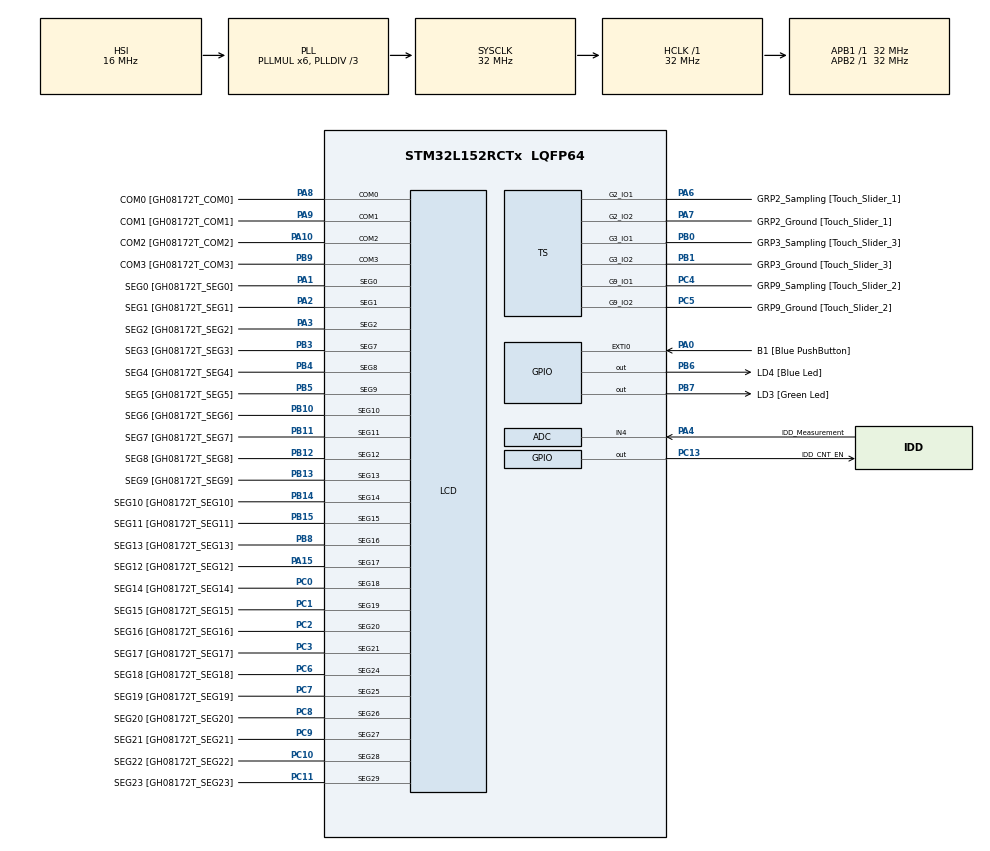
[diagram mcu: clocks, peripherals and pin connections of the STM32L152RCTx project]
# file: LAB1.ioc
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ADC.Channel=ADC_CHANNEL_4
ADC.Channel-0\#ChannelRegularConversion=ADC_CHANNEL_4
ADC.Channel-IN4=ADC_CHANNEL_4
ADC.ExternalTrigConv=ADC_EXTERNALTRIGCONV_T2_CC3
ADC.ExternalTrigConv-0\#ChannelRegularConversion=ADC_SOFTWARE_START
ADC.ExternalTrigConvEdge=ADC_EXTERNALTRIGCONVEDGE_RISING
ADC.Rank-0\#ChannelRegularConversion=1
ADC.SamplingTime-0\#ChannelRegularConversion=ADC_SAMPLETIME_4CYCLES
Mcu.Family=STM32L1
Mcu.Name=STM32L152RCTx
Mcu.Package=LQFP64
NVIC.PriorityGroup=NVIC_PRIORITYGROUP_0
PA0-WKUP1.GPIO_Label=B1 [Blue PushButton]
PA0-WKUP1.GPIO_ModeDefaultEXTI=GPIO_MODE_EVT_RISING
PA0-WKUP1.GPIO_PuPd=GPIO_NOPULL
PA0-WKUP1.Signal=GPXTI0
PA1.GPIO_Label=SEG0 [GH08172T_SEG0]
PA1.GPIO_Mode=GPIO_MODE_AF_PP
PA1.GPIO_PuPd=GPIO_NOPULL
PA1.GPIO_Speed=GPIO_SPEED_FREQ_LOW
PA1.Mode=SEG0
PA1.Signal=LCD_SEG0
PA10.GPIO_Label=COM2 [GH08172T_COM2]
PA10.GPIO_Mode=GPIO_MODE_AF_PP
PA10.GPIO_PuPd=GPIO_NOPULL
PA10.GPIO_Speed=GPIO_SPEED_FREQ_LOW
PA10.Mode=1/4 Duty Cycle
PA10.Signal=LCD_COM2
PA13.GPIO_Label=SWDIO
PA13.Mode=Serial_Wire
PA13.Signal=SYS_JTMS-SWDIO
PA14.GPIO_Label=SWCLK
PA14.Mode=Serial_Wire
PA14.Signal=SYS_JTCK-SWCLK
PA15.GPIO_Label=SEG12 [GH08172T_SEG12]
PA15.GPIO_Mode=GPIO_MODE_AF_PP
PA15.GPIO_PuPd=GPIO_NOPULL
PA15.GPIO_Speed=GPIO_SPEED_FREQ_LOW
PA15.Mode=SEG17
PA15.Signal=LCD_SEG17
PA2.GPIO_Label=SEG1 [GH08172T_SEG1]
PA2.GPIO_Mode=GPIO_MODE_AF_PP
PA2.GPIO_PuPd=GPIO_NOPULL
PA2.GPIO_Speed=GPIO_SPEED_FREQ_LOW
PA2.Mode=SEG1
PA2.Signal=LCD_SEG1
PA3.GPIO_Label=SEG2 [GH08172T_SEG2]
PA3.GPIO_Mode=GPIO_MODE_AF_PP
PA3.GPIO_PuPd=GPIO_NOPULL
PA3.GPIO_Speed=GPIO_SPEED_FREQ_LOW
PA3.Mode=SEG2
PA3.Signal=LCD_SEG2
PA4.GPIO_Label=IDD_Measurement
PA4.GPIO_Mode=GPIO_MODE_ANALOG
PA4.GPIO_PuPd=GPIO_NOPULL
PA4.Mode=IN4
PA4.Signal=ADC_IN4
PA6.GPIO_Label=GRP2_Sampling [Touch_Slider_1]
PA6.Mode=G2_IO1-Sampling
PA6.Signal=TS_G2_IO1
PA7.GPIO_Label=GRP2_Ground [Touch_Slider_1]
PA7.Mode=G2_IO2-Channel
PA7.Signal=TS_G2_IO2
PA8.GPIO_Label=COM0 [GH08172T_COM0]
PA8.GPIO_Mode=GPIO_MODE_AF_PP
PA8.GPIO_PuPd=GPIO_NOPULL
PA8.GPIO_Speed=GPIO_SPEED_FREQ_LOW
PA8.Mode=1/4 Duty Cycle
PA8.Signal=LCD_COM0
PA9.GPIO_Label=COM1 [GH08172T_COM1]
PA9.GPIO_Mode=GPIO_MODE_AF_PP
PA9.GPIO_PuPd=GPIO_NOPULL
PA9.GPIO_Speed=GPIO_SPEED_FREQ_LOW
PA9.Mode=1/4 Duty Cycle
PA9.Signal=LCD_COM1
PB0.GPIO_Label=GRP3_Sampling [Touch_Slider_3]
PB0.Mode=G3_IO1-Sampling
PB0.Signal=TS_G3_IO1
PB1.GPIO_Label=GRP3_Ground [Touch_Slider_3]
PB1.Mode=G3_IO2-Channel
PB1.Signal=TS_G3_IO2
PB10.GPIO_Label=SEG6 [GH08172T_SEG6]
PB10.GPIO_Mode=GPIO_MODE_AF_PP
PB10.GPIO_PuPd=GPIO_NOPULL
PB10.GPIO_Speed=GPIO_SPEED_FREQ_LOW
PB10.Mode=SEG10
PB10.Signal=LCD_SEG10
PB11.GPIO_Label=SEG7 [GH08172T_SEG7]
PB11.GPIO_Mode=GPIO_MODE_AF_PP
PB11.GPIO_PuPd=GPIO_NOPULL
PB11.GPIO_Speed=GPIO_SPEED_FREQ_LOW
PB11.Mode=SEG11
PB11.Signal=LCD_SEG11
PB12.GPIO_Label=SEG8 [GH08172T_SEG8]
PB12.GPIO_Mode=GPIO_MODE_AF_PP
PB12.GPIO_PuPd=GPIO_NOPULL
PB12.GPIO_Speed=GPIO_SPEED_FREQ_LOW
PB12.Mode=SEG12
PB12.Signal=LCD_SEG12
PB13.GPIO_Label=SEG9 [GH08172T_SEG9]
PB13.GPIO_Mode=GPIO_MODE_AF_PP
PB13.GPIO_PuPd=GPIO_NOPULL
PB13.GPIO_Speed=GPIO_SPEED_FREQ_LOW
PB13.Mode=SEG13
PB13.Signal=LCD_SEG13
PB14.GPIO_Label=SEG10 [GH08172T_SEG10]
PB14.GPIO_Mode=GPIO_MODE_AF_PP
PB14.GPIO_PuPd=GPIO_NOPULL
PB14.GPIO_Speed=GPIO_SPEED_FREQ_LOW
PB14.Mode=SEG14
PB14.Signal=LCD_SEG14
PB15.GPIO_Label=SEG11 [GH08172T_SEG11]
PB15.GPIO_Mode=GPIO_MODE_AF_PP
PB15.GPIO_PuPd=GPIO_NOPULL
PB15.GPIO_Speed=GPIO_SPEED_FREQ_LOW
PB15.Mode=SEG15
PB15.Signal=LCD_SEG15
PB3.GPIO_Label=SEG3 [GH08172T_SEG3]
PB3.GPIO_Mode=GPIO_MODE_AF_PP
PB3.GPIO_PuPd=GPIO_NOPULL
PB3.GPIO_Speed=GPIO_SPEED_FREQ_LOW
PB3.Mode=SEG7
PB3.Signal=LCD_SEG7
PB4.GPIO_Label=SEG4 [GH08172T_SEG4]
PB4.GPIO_Mode=GPIO_MODE_AF_PP
PB4.GPIO_PuPd=GPIO_NOPULL
PB4.GPIO_Speed=GPIO_SPEED_FREQ_LOW
PB4.Mode=SEG8
PB4.Signal=LCD_SEG8
PB5.GPIO_Label=SEG5 [GH08172T_SEG5]
PB5.GPIO_Mode=GPIO_MODE_AF_PP
PB5.GPIO_PuPd=GPIO_NOPULL
PB5.GPIO_Speed=GPIO_SPEED_FREQ_LOW
PB5.Mode=SEG9
PB5.Signal=LCD_SEG9
PB6.GPIO_Label=LD4 [Blue Led]
PB6.GPIO_ModeDefaultOutputPP=GPIO_MODE_OUTPUT_PP
PB6.GPIO_PuPd=GPIO_NOPULL
PB6.GPIO_Speed=GPIO_SPEED_FREQ_LOW
PB6.Signal=GPIO_Output
PB7.GPIO_Label=LD3 [Green Led]
PB7.GPIO_ModeDefaultOutputPP=GPIO_MODE_OUTPUT_PP
PB7.GPIO_PuPd=GPIO_NOPULL
PB7.GPIO_Speed=GPIO_SPEED_FREQ_LOW
PB7.Signal=GPIO_Output
PB8.GPIO_Label=SEG13 [GH08172T_SEG13]
PB8.GPIO_Mode=GPIO_MODE_AF_PP
PB8.GPIO_PuPd=GPIO_NOPULL
PB8.GPIO_Speed=GPIO_SPEED_FREQ_LOW
PB8.Mode=SEG16
PB8.Signal=LCD_SEG16
PB9.GPIO_Label=COM3 [GH08172T_COM3]
PB9.GPIO_Mode=GPIO_MODE_AF_PP
PB9.GPIO_PuPd=GPIO_NOPULL
PB9.GPIO_Speed=GPIO_SPEED_FREQ_LOW
PB9.Mode=1/4 Duty Cycle
PB9.Signal=LCD_COM3
PC0.GPIO_Label=SEG14 [GH08172T_SEG14]
PC0.GPIO_Mode=GPIO_MODE_AF_PP
PC0.GPIO_PuPd=GPIO_NOPULL
PC0.GPIO_Speed=GPIO_SPEED_FREQ_LOW
PC0.Mode=SEG18
PC0.Signal=LCD_SEG18
PC1.GPIO_Label=SEG15 [GH08172T_SEG15]
PC1.GPIO_Mode=GPIO_MODE_AF_PP
PC1.GPIO_PuPd=GPIO_NOPULL
PC1.GPIO_Speed=GPIO_SPEED_FREQ_LOW
PC1.Mode=SEG19
PC1.Signal=LCD_SEG19
PC10.GPIO_Label=SEG22 [GH08172T_SEG22]
PC10.GPIO_Mode=GPIO_MODE_AF_PP
PC10.GPIO_PuPd=GPIO_NOPULL
PC10.GPIO_Speed=GPIO_SPEED_FREQ_LOW
PC10.Mode=SEG28
PC10.Signal=LCD_SEG28
PC11.GPIO_Label=SEG23 [GH08172T_SEG23]
PC11.GPIO_Mode=GPIO_MODE_AF_PP
PC11.GPIO_PuPd=GPIO_NOPULL
PC11.GPIO_Speed=GPIO_SPEED_FREQ_LOW
PC11.Mode=SEG29
PC11.Signal=LCD_SEG29
PC13-WKUP2.GPIO_Label=IDD_CNT_EN
PC13-WKUP2.Signal=GPIO_Output
PC14-OSC32_IN.GPIO_Label=PC14-OSC32_IN
PC14-OSC32_IN.Mode=LSE-External-Oscillator
PC14-OSC32_IN.Signal=RCC_OSC32_IN
PC15-OSC32_OUT.GPIO_Label=PC15-OSC32_OUT
PC15-OSC32_OUT.Mode=LSE-External-Oscillator
PC15-OSC32_OUT.Signal=RCC_OSC32_OUT
PC2.GPIO_Label=SEG16 [GH08172T_SEG16]
PC2.GPIO_Mode=GPIO_MODE_AF_PP
PC2.GPIO_PuPd=GPIO_NOPULL
PC2.GPIO_Speed=GPIO_SPEED_FREQ_LOW
PC2.Mode=SEG20
PC2.Signal=LCD_SEG20
PC3.GPIO_Label=SEG17 [GH08172T_SEG17]
PC3.GPIO_Mode=GPIO_MODE_AF_PP
PC3.GPIO_PuPd=GPIO_NOPULL
PC3.GPIO_Speed=GPIO_SPEED_FREQ_LOW
PC3.Mode=SEG21
PC3.Signal=LCD_SEG21
PC4.GPIO_Label=GRP9_Sampling [Touch_Slider_2]
PC4.Mode=G9_IO1-Sampling
PC4.Signal=TS_G9_IO1
PC5.GPIO_Label=GRP9_Ground [Touch_Slider_2]
PC5.Mode=G9_IO2-Channel
PC5.Signal=TS_G9_IO2
PC6.GPIO_Label=SEG18 [GH08172T_SEG18]
PC6.GPIO_Mode=GPIO_MODE_AF_PP
PC6.GPIO_PuPd=GPIO_NOPULL
PC6.GPIO_Speed=GPIO_SPEED_FREQ_LOW
PC6.Mode=SEG24
PC6.Signal=LCD_SEG24
PC7.GPIO_Label=SEG19 [GH08172T_SEG19]
PC7.GPIO_Mode=GPIO_MODE_AF_PP
PC7.GPIO_PuPd=GPIO_NOPULL
PC7.GPIO_Speed=GPIO_SPEED_FREQ_LOW
PC7.Mode=SEG25
PC7.Signal=LCD_SEG25
PC8.GPIO_Label=SEG20 [GH08172T_SEG20]
PC8.GPIO_Mode=GPIO_MODE_AF_PP
PC8.GPIO_PuPd=GPIO_NOPULL
PC8.GPIO_Speed=GPIO_SPEED_FREQ_LOW
PC8.Mode=SEG26
PC8.Signal=LCD_SEG26
PC9.GPIO_Label=SEG21 [GH08172T_SEG21]
PC9.GPIO_Mode=GPIO_MODE_AF_PP
PC9.GPIO_PuPd=GPIO_NOPULL
PC9.GPIO_Speed=GPIO_SPEED_FREQ_LOW
PC9.Mode=SEG27
PC9.Signal=LCD_SEG27
ProjectManager.HeapSize=0x200
ProjectManager.StackSize=0x400
ProjectManager.TargetToolchain=STM32CubeIDE
RCC.48MHZClocksFreq_Value=48000000
RCC.AHBFreq_Value=32000000
RCC.APB1Freq_Value=32000000
RCC.APB1TimFreq_Value=32000000
RCC.APB2Freq_Value=32000000
RCC.APB2TimFreq_Value=32000000
RCC.HCLKFreq_Value=32000000
RCC.HSE_VALUE=8000000
RCC.HSI_VALUE=16000000
RCC.MSI_VALUE=2097000
RCC.PLLDIV=RCC_PLL_DIV3
RCC.PLLMUL=RCC_PLL_MUL6
RCC.RTCClockSelectionVirtual=RCC_RTCCLKSOURCE_LSE
RCC.SYSCLKFreq_VALUE=32000000
RCC.SYSCLKSource=RCC_SYSCLKSOURCE_PLLCLK
RCC.USBOutput=48000000
RCC.VCOOutputFreq_Value=96000000
board=STM32L152C-DISCO

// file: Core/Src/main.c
/* BASIC GPIO FUNCTIONALITY */
/* USER CODE BEGIN Header */
/**
  ******************************************************************************
  * @file           : main.c
  * @brief          : Main program body
  ******************************************************************************
  * @attention
  *
  * Copyright (c) 2023 STMicroelectronics.
  * All rights reserved.
  *
  * This software is licensed under terms that can be found in the LICENSE file
  * in the root directory of this software component.
  * If no LICENSE file comes with this software, it is provided AS-IS.
  *
  ******************************************************************************
  */
/* USER CODE END Header */
#include "main.h"

/* USER CODE BEGIN Includes */
#include "stm32l152c_discovery.h"
/* USER CODE END Includes */

ADC_HandleTypeDef hadc;

LCD_HandleTypeDef hlcd;

void SystemClock_Config(void);
static void MX_GPIO_Init(void);
static void MX_ADC_Init(void);
static void MX_LCD_Init(void);
static void MX_TS_Init(void);

int main(void)
{

  /* MCU Configuration--------------------------------------------------------*/

  /* Reset of all peripherals, Initializes the Flash interface and the Systick. */
  HAL_Init();

  /* Configure the system clock */
  SystemClock_Config();

  /* Initialize all configured peripherals */
  MX_GPIO_Init();
  MX_ADC_Init();
  MX_LCD_Init();
  MX_TS_Init();
  /* USER CODE BEGIN 2 */
  // PB6 (Blue LED) as digital output(01)
  GPIOB->MODER &= ~(1 << (6*2 +1)); // 0 in the desired bit = AND in MODER with the inverse of
  // “1” in position 13, and the rest to “0” as to keep them
  // untouched. (1 << (6*2 +1) -> “1” shifted 13
  // times from the right)
  GPIOB->MODER |= (1 << (6*2)); // 1 in the desired bit = OR in MODER with “1” in position
  // 12 and the rest to “0” to keep then unchanged.
  // (1 << (6*2)) -> “1” shifted 12 times from the right)
  // PB7 (Green LED) as digital output (01)
  GPIOB->MODER &= ~(1 << (7*2 +1));
  GPIOB->MODER |= (1 << (7*2));
  // Outputs with push-pull (0) and slow speed (00 = 400kHz). NO NEED IN THIS COURSE!
  GPIOB->OTYPER &= ~(1 << 6);
  GPIOB->OTYPER &= ~(1 << 7);
  GPIOB->OSPEEDR &= ~(1 << (6*2 +1));
  GPIOB->OSPEEDR &= ~(1 << (6*2));
  GPIOB->OSPEEDR &= ~(1 << (7*2 +1));
  GPIOB->OSPEEDR &= ~(1 << (7*2));
  /* USER CODE END 2 */

  /* Infinite loop */
  /* USER CODE BEGIN WHILE */
  while (1)
  {

    // Green LED ON – Blue LED OFF
    GPIOB->BSRR = (1<<7);
    GPIOB->BSRR = (1<<6)<<16;
    espera(5000000);
    // Green LED ON – Blue LED ON
    GPIOB->BSRR = (1<<7);
    GPIOB->BSRR = (1<<6);
    espera(5000000);
    // Green LED OFF – Blue LED ON
    GPIOB->BSRR = (1<<7)<<16;
    GPIOB->BSRR = (1<<6);
    espera(5000000);
    // Green LED OFF – Blue LED OFF
    GPIOB->BSRR = (1<<7)<<16;
    GPIOB->BSRR = (1<<6)<<16;
    espera(5000000);
    /* USER CODE END WH
    /* USER CODE END WHILE */

  }
}

void SystemClock_Config(void)
{
  RCC_OscInitTypeDef RCC_OscInitStruct = {0};
  RCC_ClkInitTypeDef RCC_ClkInitStruct = {0};
  RCC_PeriphCLKInitTypeDef PeriphClkInit = {0};

  /** Configure the main internal regulator output voltage
  */
  __HAL_PWR_VOLTAGESCALING_CONFIG(PWR_REGULATOR_VOLTAGE_SCALE1);

  /** Initializes the RCC Oscillators according to the specified parameters
  * in the RCC_OscInitTypeDef structure.
  */
  RCC_OscInitStruct.OscillatorType = RCC_OSCILLATORTYPE_HSI|RCC_OSCILLATORTYPE_LSE;
  RCC_OscInitStruct.LSEState = RCC_LSE_ON;
  RCC_OscInitStruct.HSIState = RCC_HSI_ON;
  RCC_OscInitStruct.HSICalibrationValue = RCC_HSICALIBRATION_DEFAULT;
  RCC_OscInitStruct.PLL.PLLState = RCC_PLL_ON;
  RCC_OscInitStruct.PLL.PLLSource = RCC_PLLSOURCE_HSI;
  RCC_OscInitStruct.PLL.PLLMUL = RCC_PLL_MUL6;
  RCC_OscInitStruct.PLL.PLLDIV = RCC_PLL_DIV3;
  if (HAL_RCC_OscConfig(&RCC_OscInitStruct) != HAL_OK)
  {
    Error_Handler();
  }

  /** Initializes the CPU, AHB and APB buses clocks
  */
  RCC_ClkInitStruct.ClockType = RCC_CLOCKTYPE_HCLK|RCC_CLOCKTYPE_SYSCLK
                              |RCC_CLOCKTYPE_PCLK1|RCC_CLOCKTYPE_PCLK2;
  RCC_ClkInitStruct.SYSCLKSource = RCC_SYSCLKSOURCE_PLLCLK;
  RCC_ClkInitStruct.AHBCLKDivider = RCC_SYSCLK_DIV1;
  RCC_ClkInitStruct.APB1CLKDivider = RCC_HCLK_DIV1;
  RCC_ClkInitStruct.APB2CLKDivider = RCC_HCLK_DIV1;

  if (HAL_RCC_ClockConfig(&RCC_ClkInitStruct, FLASH_LATENCY_1) != HAL_OK)
  {
    Error_Handler();
  }
  PeriphClkInit.PeriphClockSelection = RCC_PERIPHCLK_RTC|RCC_PERIPHCLK_LCD;
  PeriphClkInit.RTCClockSelection = RCC_RTCCLKSOURCE_LSE;
  PeriphClkInit.LCDClockSelection = RCC_RTCCLKSOURCE_LSE;

  if (HAL_RCCEx_PeriphCLKConfig(&PeriphClkInit) != HAL_OK)
  {
    Error_Handler();
  }
}

static void MX_ADC_Init(void)
{

  ADC_ChannelConfTypeDef sConfig = {0};

  /** Configure the global features of the ADC (Clock, Resolution, Data Alignment and number of conversion)
  */
  hadc.Instance = ADC1;
  hadc.Init.ClockPrescaler = ADC_CLOCK_ASYNC_DIV1;
  hadc.Init.Resolution = ADC_RESOLUTION_12B;
  hadc.Init.DataAlign = ADC_DATAALIGN_RIGHT;
  hadc.Init.ScanConvMode = ADC_SCAN_DISABLE;
  hadc.Init.EOCSelection = ADC_EOC_SEQ_CONV;
  hadc.Init.LowPowerAutoWait = ADC_AUTOWAIT_DISABLE;
  hadc.Init.LowPowerAutoPowerOff = ADC_AUTOPOWEROFF_DISABLE;
  hadc.Init.ChannelsBank = ADC_CHANNELS_BANK_A;
  hadc.Init.ContinuousConvMode = DISABLE;
  hadc.Init.NbrOfConversion = 1;
  hadc.Init.DiscontinuousConvMode = DISABLE;
  hadc.Init.ExternalTrigConv = ADC_EXTERNALTRIGCONV_T2_CC3;
  hadc.Init.ExternalTrigConvEdge = ADC_EXTERNALTRIGCONVEDGE_RISING;
  hadc.Init.DMAContinuousRequests = DISABLE;
  if (HAL_ADC_Init(&hadc) != HAL_OK)
  {
    Error_Handler();
  }

  /** Configure for the selected ADC regular channel its corresponding rank in the sequencer and its sample time.
  */
  sConfig.Channel = ADC_CHANNEL_4;
  sConfig.Rank = ADC_REGULAR_RANK_1;
  sConfig.SamplingTime = ADC_SAMPLETIME_4CYCLES;
  if (HAL_ADC_ConfigChannel(&hadc, &sConfig) != HAL_OK)
  {
    Error_Handler();
  }

}

static void MX_LCD_Init(void)
{

  hlcd.Instance = LCD;
  hlcd.Init.Prescaler = LCD_PRESCALER_1;
  hlcd.Init.Divider = LCD_DIVIDER_16;
  hlcd.Init.Duty = LCD_DUTY_1_4;
  hlcd.Init.Bias = LCD_BIAS_1_4;
  hlcd.Init.VoltageSource = LCD_VOLTAGESOURCE_INTERNAL;
  hlcd.Init.Contrast = LCD_CONTRASTLEVEL_0;
  hlcd.Init.DeadTime = LCD_DEADTIME_0;
  hlcd.Init.PulseOnDuration = LCD_PULSEONDURATION_0;
  hlcd.Init.MuxSegment = LCD_MUXSEGMENT_DISABLE;
  hlcd.Init.BlinkMode = LCD_BLINKMODE_OFF;
  hlcd.Init.BlinkFrequency = LCD_BLINKFREQUENCY_DIV8;
  if (HAL_LCD_Init(&hlcd) != HAL_OK)
  {
    Error_Handler();
  }

}

static void MX_TS_Init(void)
{

}

static void MX_GPIO_Init(void)
{
  GPIO_InitTypeDef GPIO_InitStruct = {0};

  /* GPIO Ports Clock Enable */
  __HAL_RCC_GPIOC_CLK_ENABLE();
  __HAL_RCC_GPIOA_CLK_ENABLE();
  __HAL_RCC_GPIOB_CLK_ENABLE();

  /*Configure GPIO pin Output Level */
  HAL_GPIO_WritePin(IDD_CNT_EN_GPIO_Port, IDD_CNT_EN_Pin, GPIO_PIN_RESET);

  /*Configure GPIO pin Output Level */
  HAL_GPIO_WritePin(GPIOB, LD4_Pin|LD3_Pin, GPIO_PIN_RESET);

  /*Configure GPIO pin : IDD_CNT_EN_Pin */
  GPIO_InitStruct.Pin = IDD_CNT_EN_Pin;
  GPIO_InitStruct.Mode = GPIO_MODE_OUTPUT_PP;
  GPIO_InitStruct.Pull = GPIO_NOPULL;
  GPIO_InitStruct.Speed = GPIO_SPEED_FREQ_LOW;
  HAL_GPIO_Init(IDD_CNT_EN_GPIO_Port, &GPIO_InitStruct);

  /*Configure GPIO pin : B1_Pin */
  GPIO_InitStruct.Pin = B1_Pin;
  GPIO_InitStruct.Mode = GPIO_MODE_EVT_RISING;
  GPIO_InitStruct.Pull = GPIO_NOPULL;
  HAL_GPIO_Init(B1_GPIO_Port, &GPIO_InitStruct);

  /*Configure GPIO pins : LD4_Pin LD3_Pin */
  GPIO_InitStruct.Pin = LD4_Pin|LD3_Pin;
  GPIO_InitStruct.Mode = GPIO_MODE_OUTPUT_PP;
  GPIO_InitStruct.Pull = GPIO_NOPULL;
  GPIO_InitStruct.Speed = GPIO_SPEED_FREQ_LOW;
  HAL_GPIO_Init(GPIOB, &GPIO_InitStruct);

}

void Error_Handler(void)
{
  __disable_irq();
  while (1)
  {
  }
}
